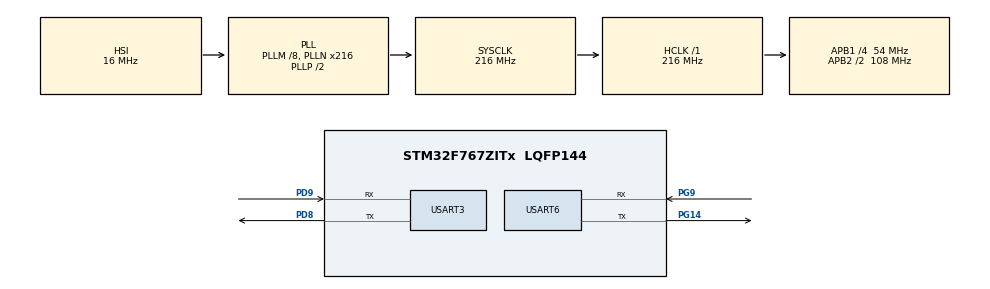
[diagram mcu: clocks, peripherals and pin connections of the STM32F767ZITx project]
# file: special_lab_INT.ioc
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Mcu.Family=STM32F7
Mcu.Name=STM32F767ZITx
Mcu.Package=LQFP144
NVIC.PriorityGroup=NVIC_PRIORITYGROUP_2
NVIC.USART3_IRQn=true\:1\:0\:true\:false\:true\:true\:true\:true
NVIC.USART6_IRQn=true\:1\:0\:true\:false\:true\:true\:true\:true
PD8.Mode=Asynchronous
PD8.Signal=USART3_TX
PD9.Mode=Asynchronous
PD9.Signal=USART3_RX
PG14.Mode=Asynchronous
PG14.Signal=USART6_TX
PG9.Mode=Asynchronous
PG9.Signal=USART6_RX
ProjectManager.HeapSize=0x200
ProjectManager.StackSize=0x400
ProjectManager.TargetToolchain=STM32CubeIDE
RCC.AHBFreq_Value=216000000
RCC.APB1CLKDivider=RCC_HCLK_DIV4
RCC.APB1Freq_Value=54000000
RCC.APB1TimFreq_Value=108000000
RCC.APB2CLKDivider=RCC_HCLK_DIV2
RCC.APB2Freq_Value=108000000
RCC.APB2TimFreq_Value=216000000
RCC.CortexFreq_Value=216000000
RCC.HCLKFreq_Value=216000000
RCC.HSE_VALUE=25000000
RCC.HSI_VALUE=16000000
RCC.LSE_VALUE=32768
RCC.PLLM=8
RCC.PLLN=216
RCC.SYSCLKFreq_VALUE=216000000
RCC.SYSCLKSource=RCC_SYSCLKSOURCE_PLLCLK
RCC.USBFreq_Value=216000000
RCC.VCOOutputFreq_Value=432000000
USART3.VirtualMode-Asynchronous=VM_ASYNC
USART6.VirtualMode-Asynchronous=VM_ASYNC
board=custom

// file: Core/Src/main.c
/* USER CODE BEGIN Header */
/**
 ******************************************************************************
 * @file           : main.c
 * @brief          : Main program body
 ******************************************************************************
 * @attention
 *
 * Copyright (c) 2023 STMicroelectronics.
 * All rights reserved.
 *
 * This software is licensed under terms that can be found in the LICENSE file
 * in the root directory of this software component.
 * If no LICENSE file comes with this software, it is provided AS-IS.
 *
 ******************************************************************************
 */
/* USER CODE END Header */
#include "main.h"

/* USER CODE BEGIN Includes */
#include "strings.h"
/* USER CODE END Includes */

UART_HandleTypeDef huart3;
UART_HandleTypeDef huart6;

void SystemClock_Config(void);
static void MX_GPIO_Init(void);
static void MX_USART3_UART_Init(void);
static void MX_USART6_UART_Init(void);

/* USER CODE BEGIN 0 */
char sendBuff[100] = { 0 };
void cleverSend(UART_HandleTypeDef huart, char *tosend) {
	while (__HAL_UART_GET_FLAG(&huart,UART_FLAG_TC) == RESET) {
	}
	sendBuff[0] = 0;
	strcat(sendBuff, tosend);
	HAL_UART_Transmit(&huart, (uint8_t*) sendBuff, strlen(sendBuff),
	HAL_MAX_DELAY);
}

int append(char *buff, char c) {
	if (c == '\r' || c == '\n')
		return 1;
	else {
		int len = strlen(buff);
		buff[len] = c;
		buff[len + 1] = 0;
		return 0;
	}
}
uint8_t nameMine[100] = { 0 };
uint8_t nameYour[100] = { 0 };
int isSender = 1;

uint8_t message_uart3[100] = { 0 };
uint8_t message_uart6[100] = { 0 };

uint8_t Rx_uart3[5];
uint8_t Rx_uart6[5];
void HAL_UART_RxCpltCallback(UART_HandleTypeDef *huart) {
	if (huart->Instance == USART6) {
		if (append(message_uart6, Rx_uart6[0])) {
			// RECEIVE FULL MESSAGE
			if (strcmp(message_uart6, "q") == 0) {
				cleverSend(huart3, "QUIT\n");
				return;
			}

			if (strlen(nameYour) == 0) {
				strcpy(nameYour, message_uart6);
				cleverSend(huart3, "    ");
				cleverSend(huart3, nameYour);
				cleverSend(huart3, " is ready\n");
				cleverSend(huart3, "    ");
				cleverSend(huart3, nameMine);
				cleverSend(huart3, " => ");
			}

			if (!isSender) {
				cleverSend(huart3, "    ");
				cleverSend(huart3, nameYour);
				cleverSend(huart3, " : ");
				cleverSend(huart3, message_uart6);
				cleverSend(huart3, "\n");
				isSender = 1;
				cleverSend(huart3, "    ");
				cleverSend(huart3, nameMine);
				cleverSend(huart3, " => ");
			}
			message_uart6[0] = 0;
		}
		HAL_UART_Receive_IT(huart, Rx_uart6, 1);
	} else if (huart->Instance == USART3) {
		cleverSend(huart3, Rx_uart3);
		if (append(message_uart3, Rx_uart3[0])) {
			// RECEIVE FULL MESSAGE
			if (strcmp(message_uart3, "q") == 0) {
				cleverSend(huart3, "QUIT\n");
				cleverSend(huart6, "q\n");
				return;
			}
			if (strlen(nameMine) == 0) {
				strcpy(nameMine, message_uart3);
//				cleverSend(huart3, nameMine);
//				cleverSend(huart3, "\n");

				cleverSend(huart6, nameMine);
				cleverSend(huart6, "\n");
//				cleverSend(huart3, "I am waiting...\n");
			}

			else if (isSender) {
//				cleverSend(huart3, message_uart3);
//				cleverSend(huart3, "\n");
				cleverSend(huart6, message_uart3);
				cleverSend(huart6, "\n");
				isSender = 0;
			}

			message_uart3[0] = 0;
		}
		HAL_UART_Receive_IT(huart, Rx_uart3, 1);
	}
}
/* USER CODE END 0 */

int main(void) {

	/* MCU Configuration--------------------------------------------------------*/

	/* Reset of all peripherals, Initializes the Flash interface and the Systick. */
	HAL_Init();

	/* Configure the system clock */
	SystemClock_Config();

	/* Initialize all configured peripherals */
	MX_GPIO_Init();
	MX_USART3_UART_Init();
	MX_USART6_UART_Init();

	/* Infinite loop */
	/* USER CODE BEGIN WHILE */
	cleverSend(huart3, "Man from U.A.R.T.1!\nQUIT PRESS q\n    Name: ");
	HAL_UART_Receive_IT(&huart3, Rx_uart3, 1);
	HAL_UART_Receive_IT(&huart6, Rx_uart6, 1);

	while (1) {
		/* USER CODE END WHILE */

		/* USER CODE BEGIN 3 */
//	  cleverSend(huart3, "FUCK YOU!");
//	  HAL_Delay(1000);
	}
	/* USER CODE END 3 */
}

void SystemClock_Config(void) {
	RCC_OscInitTypeDef RCC_OscInitStruct = { 0 };
	RCC_ClkInitTypeDef RCC_ClkInitStruct = { 0 };

	/** Configure the main internal regulator output voltage
	 */
	__HAL_RCC_PWR_CLK_ENABLE();
	__HAL_PWR_VOLTAGESCALING_CONFIG(PWR_REGULATOR_VOLTAGE_SCALE1);

	/** Initializes the RCC Oscillators according to the specified parameters
	 * in the RCC_OscInitTypeDef structure.
	 */
	RCC_OscInitStruct.OscillatorType = RCC_OSCILLATORTYPE_HSI;
	RCC_OscInitStruct.HSIState = RCC_HSI_ON;
	RCC_OscInitStruct.HSICalibrationValue = RCC_HSICALIBRATION_DEFAULT;
	RCC_OscInitStruct.PLL.PLLState = RCC_PLL_ON;
	RCC_OscInitStruct.PLL.PLLSource = RCC_PLLSOURCE_HSI;
	RCC_OscInitStruct.PLL.PLLM = 8;
	RCC_OscInitStruct.PLL.PLLN = 216;
	RCC_OscInitStruct.PLL.PLLP = RCC_PLLP_DIV2;
	RCC_OscInitStruct.PLL.PLLQ = 2;
	RCC_OscInitStruct.PLL.PLLR = 2;
	if (HAL_RCC_OscConfig(&RCC_OscInitStruct) != HAL_OK) {
		Error_Handler();
	}

	/** Activate the Over-Drive mode
	 */
	if (HAL_PWREx_EnableOverDrive() != HAL_OK) {
		Error_Handler();
	}

	/** Initializes the CPU, AHB and APB buses clocks
	 */
	RCC_ClkInitStruct.ClockType = RCC_CLOCKTYPE_HCLK | RCC_CLOCKTYPE_SYSCLK
			| RCC_CLOCKTYPE_PCLK1 | RCC_CLOCKTYPE_PCLK2;
	RCC_ClkInitStruct.SYSCLKSource = RCC_SYSCLKSOURCE_PLLCLK;
	RCC_ClkInitStruct.AHBCLKDivider = RCC_SYSCLK_DIV1;
	RCC_ClkInitStruct.APB1CLKDivider = RCC_HCLK_DIV4;
	RCC_ClkInitStruct.APB2CLKDivider = RCC_HCLK_DIV2;

	if (HAL_RCC_ClockConfig(&RCC_ClkInitStruct, FLASH_LATENCY_7) != HAL_OK) {
		Error_Handler();
	}
}

static void MX_USART3_UART_Init(void) {

	huart3.Instance = USART3;
	huart3.Init.BaudRate = 115200;
	huart3.Init.WordLength = UART_WORDLENGTH_8B;
	huart3.Init.StopBits = UART_STOPBITS_1;
	huart3.Init.Parity = UART_PARITY_NONE;
	huart3.Init.Mode = UART_MODE_TX_RX;
	huart3.Init.HwFlowCtl = UART_HWCONTROL_NONE;
	huart3.Init.OverSampling = UART_OVERSAMPLING_16;
	huart3.Init.OneBitSampling = UART_ONE_BIT_SAMPLE_DISABLE;
	huart3.AdvancedInit.AdvFeatureInit = UART_ADVFEATURE_NO_INIT;
	if (HAL_UART_Init(&huart3) != HAL_OK) {
		Error_Handler();
	}

}

static void MX_USART6_UART_Init(void) {

	huart6.Instance = USART6;
	huart6.Init.BaudRate = 115200;
	huart6.Init.WordLength = UART_WORDLENGTH_8B;
	huart6.Init.StopBits = UART_STOPBITS_1;
	huart6.Init.Parity = UART_PARITY_NONE;
	huart6.Init.Mode = UART_MODE_TX_RX;
	huart6.Init.HwFlowCtl = UART_HWCONTROL_NONE;
	huart6.Init.OverSampling = UART_OVERSAMPLING_16;
	huart6.Init.OneBitSampling = UART_ONE_BIT_SAMPLE_DISABLE;
	huart6.AdvancedInit.AdvFeatureInit = UART_ADVFEATURE_NO_INIT;
	if (HAL_UART_Init(&huart6) != HAL_OK) {
		Error_Handler();
	}

}

static void MX_GPIO_Init(void) {

	/* GPIO Ports Clock Enable */
	__HAL_RCC_GPIOD_CLK_ENABLE();
	__HAL_RCC_GPIOG_CLK_ENABLE();

}

void Error_Handler(void) {
	__disable_irq();
	while (1) {
	}
}
